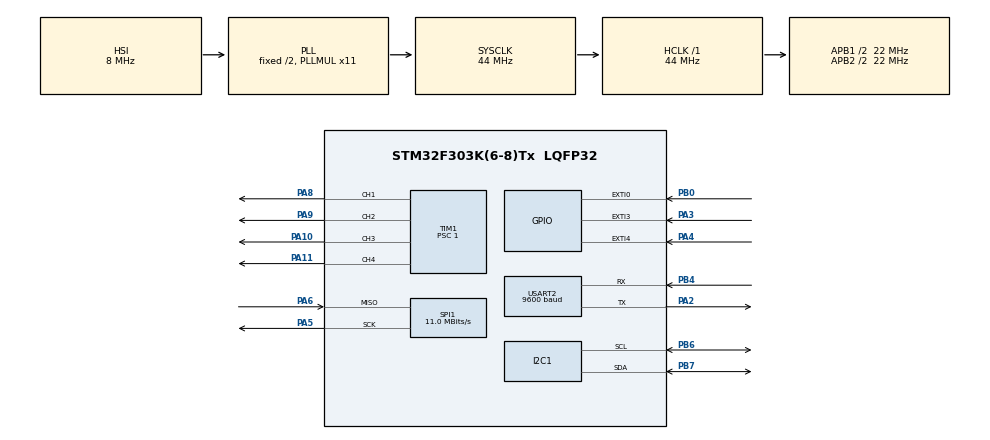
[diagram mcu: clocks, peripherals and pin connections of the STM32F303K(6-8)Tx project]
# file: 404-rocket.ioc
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Mcu.Family=STM32F3
Mcu.Name=STM32F303K(6-8)Tx
Mcu.Package=LQFP32
NVIC.EXTI0_IRQn=true\:0\:0\:false\:false\:true\:true\:true\:true
NVIC.PriorityGroup=NVIC_PRIORITYGROUP_4
NVIC.TIM1_UP_TIM16_IRQn=true\:10\:0\:true\:false\:true\:true\:true\:true
PA1.Signal=ADC1_IN2
PA10.Signal=S_TIM1_CH3
PA11.Signal=S_TIM1_CH4
PA2.Mode=Asynchronous
PA2.Signal=USART2_TX
PA3.GPIO_PuPd=GPIO_PULLUP
PA3.Signal=GPXTI3
PA4.GPIO_PuPd=GPIO_PULLUP
PA4.Signal=GPXTI4
PA5.Mode=RX_Only_Simplex_Unidirect_Master
PA5.Signal=SPI1_SCK
PA6.Mode=RX_Only_Simplex_Unidirect_Master
PA6.Signal=SPI1_MISO
PA8.GPIO_ModeDefaultPP=GPIO_MODE_AF_PP
PA8.GPIO_PuPd=GPIO_NOPULL
PA8.Signal=S_TIM1_CH1
PA9.Signal=S_TIM1_CH2
PB0.GPIO_ModeDefaultEXTI=GPIO_MODE_IT_RISING_FALLING
PB0.GPIO_PuPd=GPIO_PULLDOWN
PB0.Signal=GPXTI0
PB4.Mode=Asynchronous
PB4.Signal=USART2_RX
PB6.Mode=I2C
PB6.Signal=I2C1_SCL
PB7.Mode=I2C
PB7.Signal=I2C1_SDA
ProjectManager.HeapSize=0x200
ProjectManager.StackSize=0x400
ProjectManager.TargetToolchain=Makefile
RCC.AHBFreq_Value=44000000
RCC.APB1CLKDivider=RCC_HCLK_DIV2
RCC.APB1Freq_Value=22000000
RCC.APB1TimFreq_Value=44000000
RCC.APB2CLKDivider=RCC_HCLK_DIV2
RCC.APB2Freq_Value=22000000
RCC.APB2TimFreq_Value=44000000
RCC.CortexFreq_Value=44000000
RCC.HCLKFreq_Value=44000000
RCC.HSE_VALUE=8000000
RCC.HSI_VALUE=8000000
RCC.PLLMUL=RCC_PLL_MUL11
RCC.SYSCLKFreq_VALUE=44000000
RCC.SYSCLKSourceVirtual=RCC_SYSCLKSOURCE_PLLCLK
SH.S_TIM1_CH1.0=TIM1_CH1,PWM Generation1 CH1
SH.S_TIM1_CH2.0=TIM1_CH2,PWM Generation2 CH2
SH.S_TIM1_CH3.0=TIM1_CH3,PWM Generation3 CH3
SH.S_TIM1_CH4.0=TIM1_CH4,PWM Generation4 CH4
SPI1.CalculateBaudRate=11.0 MBits/s
SPI1.Direction=SPI_DIRECTION_2LINES_RXONLY
SPI1.Mode=SPI_MODE_MASTER
SPI1.VirtualType=VM_MASTER
TIM1.AutoReloadPreload=TIM_AUTORELOAD_PRELOAD_DISABLE
TIM1.Channel-PWM\ Generation1\ CH1=TIM_CHANNEL_1
TIM1.Channel-PWM\ Generation2\ CH2=TIM_CHANNEL_2
TIM1.Channel-PWM\ Generation3\ CH3=TIM_CHANNEL_3
TIM1.Channel-PWM\ Generation4\ CH4=TIM_CHANNEL_4
TIM1.Prescaler=1
TIM1.Pulse-PWM\ Generation1\ CH1=0x5555
TIM1.Pulse-PWM\ Generation4\ CH4=0x5555
TIM2.Prescaler=43
USART2.BaudRate=9600
USART2.Mode=MODE_TX_RX
USART2.OverrunDisableParam=ADVFEATURE_OVERRUN_DISABLE
USART2.VirtualMode-Asynchronous=VM_ASYNC
VP_TIM1_VS_ClockSourceINT.Mode=Internal
VP_TIM2_VS_ClockSourceINT.Mode=Internal
board=custom

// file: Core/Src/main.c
/* USER CODE BEGIN Header */
/**
  ******************************************************************************
  * @file           : main.c
  * @brief          : Main program body
  ******************************************************************************
  * @attention
  *
  * Copyright (c) 2021 STMicroelectronics.
  * All rights reserved.
  *
  * This software is licensed under terms that can be found in the LICENSE file
  * in the root directory of this software component.
  * If no LICENSE file comes with this software, it is provided AS-IS.
  *
  ******************************************************************************
  */
/* USER CODE END Header */
#include "main.h"

/* USER CODE BEGIN PD */

// Uncomment line below if BNO is connected and working

#define BNO_CONNECTED

// Uncomment line below to enable RPM regulation

#define ENABLE_RPM_REGULATION

/* USER CODE END PD */

I2C_HandleTypeDef hi2c1;

SPI_HandleTypeDef hspi1;

TIM_HandleTypeDef htim1;
TIM_HandleTypeDef htim2;

UART_HandleTypeDef huart2;

/* USER CODE BEGIN PV */

// SET PID VARIABLES HERE
static const float pid_variables[] =
{
  // P, I and D for Servo X
  110.0, 0.0, 55.0,
  // 500.0, 0.0, 0.0,

  // P, I and D for Servo Y
  // 270.0, 0.0, 40.0,
  271.0, 0.0, 40.0,

  // P, I and D for ESC servo
  0.2, 0.0002, 0
};

HAL_StatusTypeDef ret;
struct bno055_t imu;

uint32_t adc_value;
double esc_speed = 0.3;
double esc_rpm;
double esc_output = 0.0;
double xout, yout;
uint8_t serial_output[60] = {0};

double esc_measurements[8];
unsigned char cur_measurement;

uint32_t rpm_length;

/* USER CODE END PV */

void SystemClock_Config(void);
static void MX_GPIO_Init(void);
static void MX_TIM1_Init(void);
static void MX_I2C1_Init(void);
static void MX_USART2_UART_Init(void);
static void MX_SPI1_Init(void);
static void MX_TIM2_Init(void);

int main(void)
{
  /* USER CODE BEGIN 1 */
  long measurement_sum = 0;
	uint32_t t = 0;
	volatile HAL_StatusTypeDef stat;

  /* USER CODE END 1 */

  /* MCU Configuration--------------------------------------------------------*/

  /* Reset of all peripherals, Initializes the Flash interface and the Systick. */
  HAL_Init();

  /* Configure the system clock */
  SystemClock_Config();

  /* Initialize all configured peripherals */
  MX_GPIO_Init();
  MX_TIM1_Init();
  MX_I2C1_Init();
  MX_USART2_UART_Init();
  MX_SPI1_Init();
  MX_TIM2_Init();
  /* USER CODE BEGIN 2 */
  HAL_TIM_Base_Start(&htim2);
  struct bno055_euler_double_t orientation_data;

  imu.bus_read = BNO055_I2C_bus_read;
  imu.bus_write = BNO055_I2C_bus_write;
  imu.delay_msec = BNO055_delay_msek;
  imu.dev_addr = BNO055_I2C_ADDR1;
#ifdef BNO_CONNECTED

  bno055_init(&imu);
  bno055_set_power_mode(BNO055_POWER_MODE_NORMAL);
  bno055_set_operation_mode(BNO055_OPERATION_MODE_NDOF);

  while (bno055_convert_double_euler_hpr_deg(&orientation_data) != BNO055_SUCCESS) {

  };
#endif

  //these are just absolute values, you have to correct directions in pid.c
  double Kpp = pid_variables[0];
  double Kip = pid_variables[1];
  double Kdp = pid_variables[2];

  double Kpr = pid_variables[3];
  double Kir = pid_variables[4];
  double Kdr = pid_variables[5];

  double Kpe = pid_variables[6];
  double Kie = pid_variables[7];
  double Kde = pid_variables[8];

  PID_TypeDef escPID;
  PID_TypeDef xPID;
  PID_TypeDef yPID;

  double xSetpoint, ySetpoint;
  xSetpoint = fabs(orientation_data.p);
  ySetpoint = orientation_data.r;

  PID(&xPID, &orientation_data.p, &xout, &xSetpoint, Kpp, Kip, Kdp, _PID_P_ON_E, _PID_CD_DIRECT);
  PID_SetMode(&xPID, _PID_MODE_AUTOMATIC);
  PID_SetSampleTime(&xPID, 10);
  PID_SetOutputLimits(&xPID, -10922.5, 10992.5);

  PID(&yPID, &orientation_data.r, &yout, &ySetpoint, Kpr, Kir, Kdr, _PID_P_ON_E, _PID_CD_DIRECT);
  PID_SetMode(&yPID, _PID_MODE_AUTOMATIC);
  PID_SetSampleTime(&yPID, 10);
  PID_SetOutputLimits(&yPID, -10922.5, 10922.5);

  /*
  esc_speed = 0.3;
  esc_rpm = esc_speed;
  PID(&escPID, &esc_rpm, &esc_output, &esc_speed, Kpe, Kie, Kde, _PID_P_ON_M, _PID_CD_DIRECT);
  PID_SetMode(&escPID, _PID_MODE_AUTOMATIC);
  PID_SetSampleTime(&escPID, 10);
  PID_SetOutputLimits(&escPID, -1.0, 1.0);
  */

  HAL_TIM_Base_Start_IT(&htim1);
  HAL_TIM_OC_Start_IT(&htim1, TIM_CHANNEL_1);
  HAL_TIM_OC_Start_IT(&htim1, TIM_CHANNEL_2);
  HAL_TIM_OC_Start_IT(&htim1, TIM_CHANNEL_3);
  //HAL_TIM_OC_Start_IT(&htim1, TIM_CHANNEL_4);

  SimpleRegulatorStruct regulator =
  {
    .Ki = Kie,
    .input = &esc_rpm,
    .output = &esc_output,
    .reference = 0.4,
    .error = 0.0,
    .min = 0.3,
    .max = 0.7,
    .prev_time = HAL_GetTick()
  };

  esc_speed = 0.3;

  t = HAL_GetTick();
  TIM1->CCR3 = 0x5555;
  while (HAL_GetTick() - t < 3000) {

  }
  cur_measurement = 0;
  TIM1->CCR3 = 0x5555 + esc_speed * 0x5555;
  t = HAL_GetTick();
  while (HAL_GetTick() - t < 500) {

  }

  /* USER CODE END 2 */

  /* Infinite loop */
  /* USER CODE BEGIN WHILE */
  while (1)
  {
    #ifdef BNO_CONNECTED
	  while (bno055_convert_double_euler_hpr_deg(&orientation_data) != BNO055_SUCCESS) {

	  };
    orientation_data.p = fabs(orientation_data.p);
    #endif

    #ifdef ENABLE_RPM_REGULATION
    esc_measurements[cur_measurement] = rpm_length;
    cur_measurement++;

    // This section filters out some noise on the digital signal
    if (cur_measurement >= 8)
    {
      for (int i = 1; i < 8; i++ )
      {
        for (int j = 0; j < i; j++ )
        {
          if (esc_measurements[j] > esc_measurements[j + 1])
          {
            long temp = esc_measurements[j + 1];
            esc_measurements[j + 1] = esc_measurements[j];
            esc_measurements[j] = temp;
          }
        }
      }

      measurement_sum = 0;

      for (int i = 0; i < 4; i++)
      {
        measurement_sum += esc_measurements[i + 1];
      }

      esc_rpm = 500.0 / measurement_sum;

      cur_measurement = 0;
      simple_regulator_update(&regulator);
      TIM1->CCR3 = esc_output * 0x5555 + 0x5555;
    }
    #endif

	  HAL_NVIC_DisableIRQ(TIM1_UP_TIM16_IRQn);
	  PID_Compute(&xPID);
	  PID_Compute(&yPID);

    // snprintf(serial_output, 10, "%ld\r\n", rpm_length);
    // stat = HAL_UART_Transmit(&huart2, serial_output, 60, 1000);

	  HAL_NVIC_EnableIRQ(TIM1_UP_TIM16_IRQn);

    /* USER CODE END WHILE */

  }
}

void SystemClock_Config(void)
{
  RCC_OscInitTypeDef RCC_OscInitStruct = {0};
  RCC_ClkInitTypeDef RCC_ClkInitStruct = {0};
  RCC_PeriphCLKInitTypeDef PeriphClkInit = {0};

  /** Initializes the RCC Oscillators according to the specified parameters
  * in the RCC_OscInitTypeDef structure.
  */
  RCC_OscInitStruct.OscillatorType = RCC_OSCILLATORTYPE_HSI;
  RCC_OscInitStruct.HSIState = RCC_HSI_ON;
  RCC_OscInitStruct.HSICalibrationValue = RCC_HSICALIBRATION_DEFAULT;
  RCC_OscInitStruct.PLL.PLLState = RCC_PLL_ON;
  RCC_OscInitStruct.PLL.PLLSource = RCC_PLLSOURCE_HSI;
  RCC_OscInitStruct.PLL.PLLMUL = RCC_PLL_MUL11;
  if (HAL_RCC_OscConfig(&RCC_OscInitStruct) != HAL_OK)
  {
    Error_Handler();
  }
  /** Initializes the CPU, AHB and APB buses clocks
  */
  RCC_ClkInitStruct.ClockType = RCC_CLOCKTYPE_HCLK|RCC_CLOCKTYPE_SYSCLK
                              |RCC_CLOCKTYPE_PCLK1|RCC_CLOCKTYPE_PCLK2;
  RCC_ClkInitStruct.SYSCLKSource = RCC_SYSCLKSOURCE_PLLCLK;
  RCC_ClkInitStruct.AHBCLKDivider = RCC_SYSCLK_DIV1;
  RCC_ClkInitStruct.APB1CLKDivider = RCC_HCLK_DIV2;
  RCC_ClkInitStruct.APB2CLKDivider = RCC_HCLK_DIV2;

  if (HAL_RCC_ClockConfig(&RCC_ClkInitStruct, FLASH_LATENCY_1) != HAL_OK)
  {
    Error_Handler();
  }
  PeriphClkInit.PeriphClockSelection = RCC_PERIPHCLK_I2C1|RCC_PERIPHCLK_TIM1;
  PeriphClkInit.I2c1ClockSelection = RCC_I2C1CLKSOURCE_HSI;
  PeriphClkInit.Tim1ClockSelection = RCC_TIM1CLK_HCLK;
  if (HAL_RCCEx_PeriphCLKConfig(&PeriphClkInit) != HAL_OK)
  {
    Error_Handler();
  }
}

static void MX_I2C1_Init(void)
{

  hi2c1.Instance = I2C1;
  hi2c1.Init.Timing = 0x2000090E;
  hi2c1.Init.OwnAddress1 = 0;
  hi2c1.Init.AddressingMode = I2C_ADDRESSINGMODE_7BIT;
  hi2c1.Init.DualAddressMode = I2C_DUALADDRESS_DISABLE;
  hi2c1.Init.OwnAddress2 = 0;
  hi2c1.Init.OwnAddress2Masks = I2C_OA2_NOMASK;
  hi2c1.Init.GeneralCallMode = I2C_GENERALCALL_DISABLE;
  hi2c1.Init.NoStretchMode = I2C_NOSTRETCH_DISABLE;
  if (HAL_I2C_Init(&hi2c1) != HAL_OK)
  {
    Error_Handler();
  }
  /** Configure Analogue filter
  */
  if (HAL_I2CEx_ConfigAnalogFilter(&hi2c1, I2C_ANALOGFILTER_ENABLE) != HAL_OK)
  {
    Error_Handler();
  }
  /** Configure Digital filter
  */
  if (HAL_I2CEx_ConfigDigitalFilter(&hi2c1, 0) != HAL_OK)
  {
    Error_Handler();
  }

}

static void MX_SPI1_Init(void)
{

  /* SPI1 parameter configuration*/
  hspi1.Instance = SPI1;
  hspi1.Init.Mode = SPI_MODE_MASTER;
  hspi1.Init.Direction = SPI_DIRECTION_2LINES_RXONLY;
  hspi1.Init.DataSize = SPI_DATASIZE_4BIT;
  hspi1.Init.CLKPolarity = SPI_POLARITY_LOW;
  hspi1.Init.CLKPhase = SPI_PHASE_1EDGE;
  hspi1.Init.NSS = SPI_NSS_SOFT;
  hspi1.Init.BaudRatePrescaler = SPI_BAUDRATEPRESCALER_2;
  hspi1.Init.FirstBit = SPI_FIRSTBIT_MSB;
  hspi1.Init.TIMode = SPI_TIMODE_DISABLE;
  hspi1.Init.CRCCalculation = SPI_CRCCALCULATION_DISABLE;
  hspi1.Init.CRCPolynomial = 7;
  hspi1.Init.CRCLength = SPI_CRC_LENGTH_DATASIZE;
  hspi1.Init.NSSPMode = SPI_NSS_PULSE_ENABLE;
  if (HAL_SPI_Init(&hspi1) != HAL_OK)
  {
    Error_Handler();
  }

}

static void MX_TIM1_Init(void)
{

  TIM_ClockConfigTypeDef sClockSourceConfig = {0};
  TIM_MasterConfigTypeDef sMasterConfig = {0};
  TIM_OC_InitTypeDef sConfigOC = {0};
  TIM_BreakDeadTimeConfigTypeDef sBreakDeadTimeConfig = {0};

  htim1.Instance = TIM1;
  htim1.Init.Prescaler = 1;
  htim1.Init.CounterMode = TIM_COUNTERMODE_UP;
  htim1.Init.Period = 65535;
  htim1.Init.ClockDivision = TIM_CLOCKDIVISION_DIV1;
  htim1.Init.RepetitionCounter = 0;
  htim1.Init.AutoReloadPreload = TIM_AUTORELOAD_PRELOAD_DISABLE;
  if (HAL_TIM_Base_Init(&htim1) != HAL_OK)
  {
    Error_Handler();
  }
  sClockSourceConfig.ClockSource = TIM_CLOCKSOURCE_INTERNAL;
  if (HAL_TIM_ConfigClockSource(&htim1, &sClockSourceConfig) != HAL_OK)
  {
    Error_Handler();
  }
  if (HAL_TIM_PWM_Init(&htim1) != HAL_OK)
  {
    Error_Handler();
  }
  sMasterConfig.MasterOutputTrigger = TIM_TRGO_RESET;
  sMasterConfig.MasterOutputTrigger2 = TIM_TRGO2_RESET;
  sMasterConfig.MasterSlaveMode = TIM_MASTERSLAVEMODE_DISABLE;
  if (HAL_TIMEx_MasterConfigSynchronization(&htim1, &sMasterConfig) != HAL_OK)
  {
    Error_Handler();
  }
  sConfigOC.OCMode = TIM_OCMODE_PWM1;
  sConfigOC.Pulse = 0x5555;
  sConfigOC.OCPolarity = TIM_OCPOLARITY_HIGH;
  sConfigOC.OCNPolarity = TIM_OCNPOLARITY_HIGH;
  sConfigOC.OCFastMode = TIM_OCFAST_DISABLE;
  sConfigOC.OCIdleState = TIM_OCIDLESTATE_RESET;
  sConfigOC.OCNIdleState = TIM_OCNIDLESTATE_RESET;
  if (HAL_TIM_PWM_ConfigChannel(&htim1, &sConfigOC, TIM_CHANNEL_1) != HAL_OK)
  {
    Error_Handler();
  }
  sConfigOC.Pulse = 0;
  if (HAL_TIM_PWM_ConfigChannel(&htim1, &sConfigOC, TIM_CHANNEL_2) != HAL_OK)
  {
    Error_Handler();
  }
  if (HAL_TIM_PWM_ConfigChannel(&htim1, &sConfigOC, TIM_CHANNEL_3) != HAL_OK)
  {
    Error_Handler();
  }
  sConfigOC.Pulse = 0x5555;
  if (HAL_TIM_PWM_ConfigChannel(&htim1, &sConfigOC, TIM_CHANNEL_4) != HAL_OK)
  {
    Error_Handler();
  }
  sBreakDeadTimeConfig.OffStateRunMode = TIM_OSSR_DISABLE;
  sBreakDeadTimeConfig.OffStateIDLEMode = TIM_OSSI_DISABLE;
  sBreakDeadTimeConfig.LockLevel = TIM_LOCKLEVEL_OFF;
  sBreakDeadTimeConfig.DeadTime = 0;
  sBreakDeadTimeConfig.BreakState = TIM_BREAK_DISABLE;
  sBreakDeadTimeConfig.BreakPolarity = TIM_BREAKPOLARITY_HIGH;
  sBreakDeadTimeConfig.BreakFilter = 0;
  sBreakDeadTimeConfig.Break2State = TIM_BREAK2_DISABLE;
  sBreakDeadTimeConfig.Break2Polarity = TIM_BREAK2POLARITY_HIGH;
  sBreakDeadTimeConfig.Break2Filter = 0;
  sBreakDeadTimeConfig.AutomaticOutput = TIM_AUTOMATICOUTPUT_DISABLE;
  if (HAL_TIMEx_ConfigBreakDeadTime(&htim1, &sBreakDeadTimeConfig) != HAL_OK)
  {
    Error_Handler();
  }
  HAL_TIM_MspPostInit(&htim1);

}

static void MX_TIM2_Init(void)
{

  TIM_ClockConfigTypeDef sClockSourceConfig = {0};
  TIM_MasterConfigTypeDef sMasterConfig = {0};

  htim2.Instance = TIM2;
  htim2.Init.Prescaler = 43;
  htim2.Init.CounterMode = TIM_COUNTERMODE_UP;
  htim2.Init.Period = 4294967295;
  htim2.Init.ClockDivision = TIM_CLOCKDIVISION_DIV1;
  htim2.Init.AutoReloadPreload = TIM_AUTORELOAD_PRELOAD_DISABLE;
  if (HAL_TIM_Base_Init(&htim2) != HAL_OK)
  {
    Error_Handler();
  }
  sClockSourceConfig.ClockSource = TIM_CLOCKSOURCE_INTERNAL;
  if (HAL_TIM_ConfigClockSource(&htim2, &sClockSourceConfig) != HAL_OK)
  {
    Error_Handler();
  }
  sMasterConfig.MasterOutputTrigger = TIM_TRGO_RESET;
  sMasterConfig.MasterSlaveMode = TIM_MASTERSLAVEMODE_DISABLE;
  if (HAL_TIMEx_MasterConfigSynchronization(&htim2, &sMasterConfig) != HAL_OK)
  {
    Error_Handler();
  }

}

static void MX_USART2_UART_Init(void)
{

  huart2.Instance = USART2;
  huart2.Init.BaudRate = 9600;
  huart2.Init.WordLength = UART_WORDLENGTH_8B;
  huart2.Init.StopBits = UART_STOPBITS_1;
  huart2.Init.Parity = UART_PARITY_NONE;
  huart2.Init.Mode = UART_MODE_TX_RX;
  huart2.Init.HwFlowCtl = UART_HWCONTROL_NONE;
  huart2.Init.OverSampling = UART_OVERSAMPLING_16;
  huart2.Init.OneBitSampling = UART_ONE_BIT_SAMPLE_DISABLE;
  huart2.AdvancedInit.AdvFeatureInit = UART_ADVFEATURE_RXOVERRUNDISABLE_INIT;
  huart2.AdvancedInit.OverrunDisable = UART_ADVFEATURE_OVERRUN_DISABLE;
  if (HAL_UART_Init(&huart2) != HAL_OK)
  {
    Error_Handler();
  }

}

static void MX_GPIO_Init(void)
{
  GPIO_InitTypeDef GPIO_InitStruct = {0};

  /* GPIO Ports Clock Enable */
  __HAL_RCC_GPIOA_CLK_ENABLE();
  __HAL_RCC_GPIOB_CLK_ENABLE();

  /*Configure GPIO pin : PA1 */
  GPIO_InitStruct.Pin = GPIO_PIN_1;
  GPIO_InitStruct.Mode = GPIO_MODE_ANALOG;
  GPIO_InitStruct.Pull = GPIO_NOPULL;
  HAL_GPIO_Init(GPIOA, &GPIO_InitStruct);

  /*Configure GPIO pins : PA3 PA4 */
  GPIO_InitStruct.Pin = GPIO_PIN_3|GPIO_PIN_4;
  GPIO_InitStruct.Mode = GPIO_MODE_IT_RISING;
  GPIO_InitStruct.Pull = GPIO_PULLUP;
  HAL_GPIO_Init(GPIOA, &GPIO_InitStruct);

  /*Configure GPIO pin : PB0 */
  GPIO_InitStruct.Pin = GPIO_PIN_0;
  GPIO_InitStruct.Mode = GPIO_MODE_IT_RISING_FALLING;
  GPIO_InitStruct.Pull = GPIO_PULLDOWN;
  HAL_GPIO_Init(GPIOB, &GPIO_InitStruct);

  /* EXTI interrupt init*/
  HAL_NVIC_SetPriority(EXTI0_IRQn, 0, 0);
  HAL_NVIC_EnableIRQ(EXTI0_IRQn);

}

void Error_Handler(void)
{
  __disable_irq();
  while (1)
  {
  }
}
